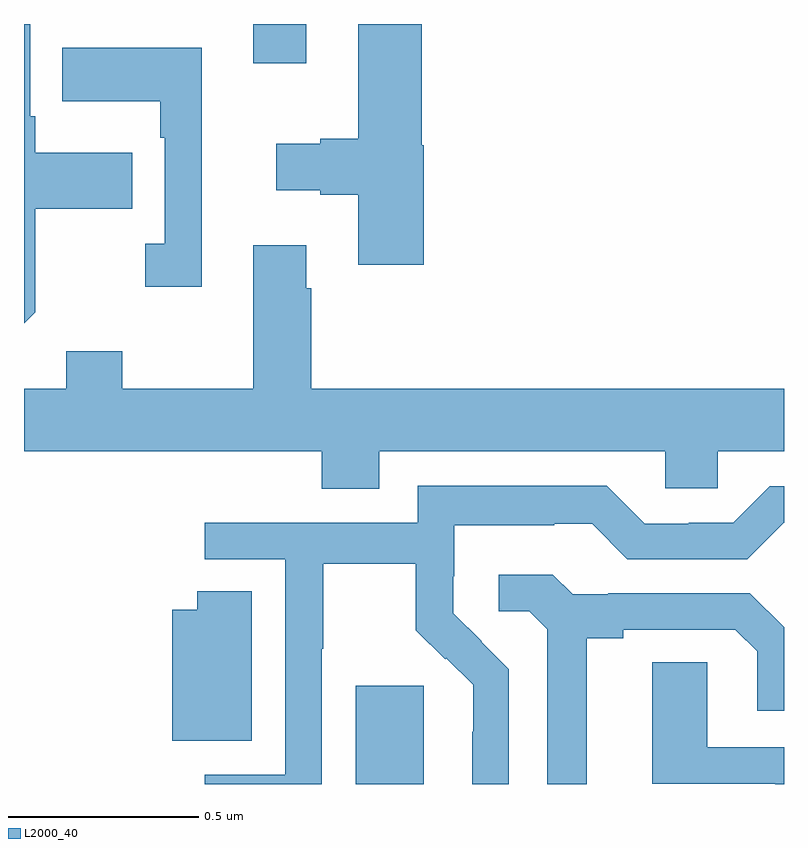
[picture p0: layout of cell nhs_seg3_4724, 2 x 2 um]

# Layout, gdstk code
import gdstk
lib = gdstk.Library(unit=1e-6, precision=1e-09)
def R(c, l, rs):  # rectangles x0, y0, x1, y1
    for r in rs: c.add(gdstk.rectangle(r[:2], r[2:], *l))
def P(c, l, *ps):  # polygons
    for p in ps: c.add(gdstk.Polygon(p, *l))
L2000_40 = (2000, 40)

nhs_seg3_4724 = lib.new_cell('nhs_seg3_4724')
R(nhs_seg3_4724, L2000_40, [(170.873,673.4,171.052,673.659), (170.603,675.297,170.743,675.4)])
P(nhs_seg3_4724, L2000_40, [(170.029,674.641),(170.029,674.914),(170.285,674.914),(170.285,675.061),(170.029,675.061),(170.029,675.157),(170.016,675.157),(170.016,675.4),(170,675.4),(170,674.612)],
  [(171.052,675.081),(171.047,675.081),(171.047,675.4),(170.879,675.4),(170.879,675.098),(170.78,675.098),(170.78,675.085),(170.664,675.085),(170.664,674.963),(170.78,674.963),(170.78,674.951),(170.879,674.951),(170.879,674.766),(171.052,674.766)],
  [(170.468,675.337),(170.101,675.337),(170.101,675.197),(170.358,675.197),(170.358,675.101),(170.37,675.101),(170.37,674.822),(170.319,674.822),(170.319,674.709),(170.468,674.709)],
  [(170.935,674.276),(171.687,674.276),(171.687,674.178),(171.825,674.178),(171.825,674.276),(172,674.276),(172,674.44),(170.756,674.44),(170.756,674.705),(170.743,674.705),(170.743,674.818),(170.603,674.818),(170.603,674.44),(170.259,674.44),(170.259,674.539),(170.111,674.539),(170.111,674.44),(170,674.44),(170,674.276),(170.783,674.276),(170.783,674.177),(170.935,674.177)],
  [(170.784,673.756),(170.787,673.756),(170.787,673.98),(171.031,673.98),(171.031,673.805),(171.108,673.728),(171.111,673.731),(171.182,673.661),(171.182,673.538),(171.18,673.538),(171.18,673.4),(171.276,673.4),(171.276,673.702),(171.203,673.775),(171.204,673.776),(171.13,673.85),(171.13,673.947),(171.132,673.947),(171.132,674.081),(171.395,674.081),(171.395,674.085),(171.495,674.085),(171.588,673.992),(171.903,673.992),(171.999,674.088),(172,674.088),(172,674.184),(171.963,674.184),(171.867,674.088),(171.749,674.088),(171.749,674.085),(171.633,674.085),(171.533,674.185),(171.036,674.185),(171.036,674.088),(170.475,674.088),(170.475,673.992),(170.688,673.992),(170.688,673.425),(170.475,673.425),(170.475,673.4),(170.784,673.4)],
  [(171.481,673.784),(171.577,673.784),(171.577,673.806),(171.872,673.806),(171.929,673.749),(171.929,673.593),(172,673.593),(172,673.812),(171.91,673.902),(171.538,673.902),(171.538,673.899),(171.444,673.899),(171.392,673.951),(171.249,673.951),(171.249,673.854),(171.33,673.854),(171.377,673.807),(171.377,673.4),(171.481,673.4)],
  [(170.599,673.907),(170.456,673.907),(170.456,673.858),(170.39,673.858),(170.39,673.514),(170.599,673.514)],
  [(172,673.497),(171.798,673.497),(171.798,673.721),(171.653,673.721),(171.653,673.401),(171.977,673.401),(171.977,673.4),(172,673.4)])

lib.write_gds('nhs_seg3_4724.gds')
